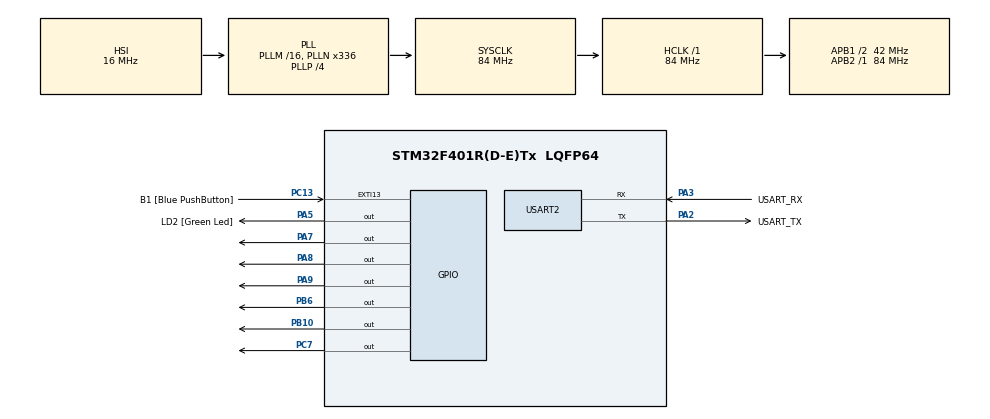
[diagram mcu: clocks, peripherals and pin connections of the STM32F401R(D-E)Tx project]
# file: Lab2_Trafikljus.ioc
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Mcu.Family=STM32F4
Mcu.Name=STM32F401R(D-E)Tx
Mcu.Package=LQFP64
NVIC.EXTI15_10_IRQn=true\:0\:0\:false\:false\:true\:true\:true\:true
NVIC.PriorityGroup=NVIC_PRIORITYGROUP_0
PA13.GPIO_Label=TMS
PA13.Mode=Serial_Wire
PA13.Signal=SYS_JTMS-SWDIO
PA14.GPIO_Label=TCK
PA14.Mode=Serial_Wire
PA14.Signal=SYS_JTCK-SWCLK
PA2.GPIO_Label=USART_TX
PA2.GPIO_Mode=GPIO_MODE_AF_PP
PA2.GPIO_PuPd=GPIO_NOPULL
PA2.GPIO_Speed=GPIO_SPEED_FREQ_LOW
PA2.Mode=Asynchronous
PA2.Signal=USART2_TX
PA3.GPIO_Label=USART_RX
PA3.GPIO_Mode=GPIO_MODE_AF_PP
PA3.GPIO_PuPd=GPIO_NOPULL
PA3.GPIO_Speed=GPIO_SPEED_FREQ_LOW
PA3.Mode=Asynchronous
PA3.Signal=USART2_RX
PA5.GPIO_Label=LD2 [Green Led]
PA5.GPIO_Mode=GPIO_MODE_OUTPUT_PP
PA5.GPIO_PuPd=GPIO_NOPULL
PA5.GPIO_Speed=GPIO_SPEED_FREQ_LOW
PA5.Signal=GPIO_Output
PA7.Signal=GPIO_Output
PA8.Signal=GPIO_Output
PA9.Signal=GPIO_Output
PB10.Signal=GPIO_Output
PB3.GPIO_Label=SWO
PB3.Signal=SYS_JTDO-SWO
PB6.Signal=GPIO_Output
PC13-ANTI_TAMP.GPIO_Label=B1 [Blue PushButton]
PC13-ANTI_TAMP.GPIO_ModeDefaultEXTI=GPIO_MODE_IT_FALLING
PC13-ANTI_TAMP.GPIO_PuPd=GPIO_NOPULL
PC13-ANTI_TAMP.Signal=GPXTI13
PC14-OSC32_IN.Mode=LSE-External-Oscillator
PC14-OSC32_IN.Signal=RCC_OSC32_IN
PC15-OSC32_OUT.Mode=LSE-External-Oscillator
PC15-OSC32_OUT.Signal=RCC_OSC32_OUT
PC7.Signal=GPIO_Output
PH0\ -\ OSC_IN.Mode=HSE-External-Clock-Source
PH0\ -\ OSC_IN.Signal=RCC_OSC_IN
PH1\ -\ OSC_OUT.Mode=HSE-External-Clock-Source
PH1\ -\ OSC_OUT.Signal=RCC_OSC_OUT
ProjectManager.HeapSize=0x200
ProjectManager.StackSize=0x400
ProjectManager.TargetToolchain=STM32CubeIDE
RCC.48MHZClocksFreq_Value=48000000
RCC.AHBFreq_Value=84000000
RCC.APB1CLKDivider=RCC_HCLK_DIV2
RCC.APB1Freq_Value=42000000
RCC.APB1TimFreq_Value=84000000
RCC.APB2Freq_Value=84000000
RCC.APB2TimFreq_Value=84000000
RCC.CortexFreq_Value=84000000
RCC.HCLKFreq_Value=84000000
RCC.HSE_VALUE=8000000
RCC.HSI_VALUE=16000000
RCC.PLLN=336
RCC.PLLP=RCC_PLLP_DIV4
RCC.PLLQ=7
RCC.SYSCLKFreq_VALUE=84000000
RCC.SYSCLKSource=RCC_SYSCLKSOURCE_PLLCLK
RCC.VCOOutputFreq_Value=336000000
USART2.VirtualMode=VM_ASYNC
board=NUCLEO-F401RE

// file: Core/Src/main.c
/* USER CODE BEGIN Header */
/**
  ******************************************************************************
  * @file           : main.c
  * @brief          : Main program body
  ******************************************************************************
  * @attention
  *
  * Copyright (c) 2024 STMicroelectronics.
  * All rights reserved.
  *
  * This software is licensed under terms that can be found in the LICENSE file
  * in the root directory of this software component.
  * If no LICENSE file comes with this software, it is provided AS-IS.
  *
  ******************************************************************************
  */
/* USER CODE END Header */
#include "main.h"

/* USER CODE BEGIN Includes */
// Definiera binära mönster för varje tillstånd
#define INIT_PATTERN      0b11111 // s_init
#define CARS_GO_PATTERN   0b01100 // s_cars_go
#define PUSHED_WAIT_PATTERN 0b01100 // s_pushed_wait
#define CARS_STOPPIN_PATTERN 0b01010 // s_cars_stoppin
#define WALK_GETREADY_PATTERN 0b01001 // s_walk_getready
#define WALK_PATTERN      0b10001 // s_walk
#define WALK_STOPPIN_PATTERN 0b01001 // s_walk_stoppin
#define CAR_GETREADY_PATTERN 0b01011 // s_car_ready
#define ALL_RED				0b01001
#define EVQ_SIZE 10

enum event {
    ev_none = 0,        // Ingen händelse, standardvärde
    ev_button_push,     // När knappen trycks
    ev_state_timeout,   // Timeout-händelse
	ev_error	= -99
};
enum state {
	s_init,
    s_cars_go,        // Tillstånd där bilarna kör
	s_pushed_wait,
    s_cars_stoppin,
    s_walk_getready,
    s_walk,
	s_walk_stoppin,
	s_cars_getready,
	s_all_red
};

enum event evq[EVQ_SIZE];
int evq_count	= 0;
int evq_front_ix = 0;   // Pekare till den första händelsen i kön
int evq_rear_ix = 0;
/* USER CODE END Includes */

/* USER CODE BEGIN PTD */
uint32_t ticks_left_in_state = 0;
/* USER CODE END PTD */

UART_HandleTypeDef huart2;

void SystemClock_Config(void);
static void MX_GPIO_Init(void);
static void MX_USART2_UART_Init(void);

/* USER CODE BEGIN 0 */
int is_button_pressed() {

	// Kontrollera knappens tillstånd
	return (HAL_GPIO_ReadPin(B1_GPIO_Port, B1_Pin) == GPIO_PIN_RESET) ? 1 : 0;

}

void set_traffic_lights(enum state s) {
	uint16_t pattern;
	switch (s) {
	case s_init:
		// Initiera alla lampor (eller tänd dem som krävs för initiering)
		pattern = INIT_PATTERN;
		break;
	case s_all_red:
		pattern = ALL_RED;
		break;
	case s_cars_go:
		pattern = CARS_GO_PATTERN;
		break;
	case s_pushed_wait:
		pattern = PUSHED_WAIT_PATTERN;
		break;
	case s_cars_stoppin:
		pattern = CARS_STOPPIN_PATTERN;
		break;
	case s_walk_getready:
		pattern = WALK_GETREADY_PATTERN;
		break;
	case s_walk:
		pattern = WALK_PATTERN;
		break;
	case s_walk_stoppin:
		pattern = WALK_STOPPIN_PATTERN;
		break;
	case s_cars_getready:
		pattern = CAR_GETREADY_PATTERN;
		break;
	default:
		pattern = 0b00000; // Ingen lampor tända
		break;
	}
	// Ställ in lysdioderna enligt det valda mönstret
	HAL_GPIO_WritePin(GPIOA, GPIO_PIN_8,
			(pattern & (1 << 0)) ? GPIO_PIN_SET : GPIO_PIN_RESET); // PA8
	HAL_GPIO_WritePin(GPIOA, GPIO_PIN_9,
			(pattern & (1 << 1)) ? GPIO_PIN_SET : GPIO_PIN_RESET); // PA9
	HAL_GPIO_WritePin(GPIOC, GPIO_PIN_7,
			(pattern & (1 << 2)) ? GPIO_PIN_SET : GPIO_PIN_RESET); // PC7
	HAL_GPIO_WritePin(GPIOB, GPIO_PIN_6,
			(pattern & (1 << 3)) ? GPIO_PIN_SET : GPIO_PIN_RESET); // PB6
	HAL_GPIO_WritePin(GPIOA, GPIO_PIN_7,
			(pattern & (1 << 4)) ? GPIO_PIN_SET : GPIO_PIN_RESET); // PA7
}

void push_button_light_on() {
	HAL_GPIO_WritePin(GPIOB, GPIO_PIN_10, GPIO_PIN_SET); // Sätter PB10 till hög för att tända dioden
}

void push_button_light_off() {
	HAL_GPIO_WritePin(GPIOB, GPIO_PIN_10, GPIO_PIN_RESET); // Sätter PB10 till låg för att släcka dioden
}
void evq_init(void) {
	for (int i = 0; i < EVQ_SIZE; i++) {
		evq[i] = ev_error;  // Fyll hela kön med felhändelse
	}
}

// if queue is full, ignore e
void evq_push_back(enum event e) {
// if queue is full, ignore e
	if (evq_count < EVQ_SIZE) {
		evq[evq_rear_ix] = e;
		evq_rear_ix++;
		evq_rear_ix %= EVQ_SIZE;
		evq_count++;
	}
}
enum event evq_pop_front() {
enum event e = ev_none;
if (evq_count > 0) {
	e = evq[evq_front_ix];
	evq[evq_front_ix] = ev_error; // detect stupidity
	evq_front_ix++;
	evq_front_ix %= EVQ_SIZE;
	evq_count--;
}
return e;
}

void HAL_GPIO_EXTI_Callback(uint16_t GPIO_Pin) {
    if (GPIO_Pin == B1_Pin) {  // B1_Pin refererar till den GPIO-pin B1 är kopplad till
        evq_push_back(ev_button_push);  // Lägg till ett knapptryck-event i kön
    }
}

int systick_count = 0;
void my_systick_handler()
{
	/*systick_count++;
	if (systick_count == 1000)
	{
		HAL_GPIO_TogglePin(LD2_GPIO_Port, LD2_Pin);
		systick_count = 0;
		evq_push_back(ev_state_timeout);
	}*/
	if(ticks_left_in_state > 0)
	{
		ticks_left_in_state --;
		if(ticks_left_in_state == 0)
		{
			evq_push_back(ev_state_timeout);
		}
	}
}
/* USER CODE END 0 */

int main(void)
{

  /* MCU Configuration--------------------------------------------------------*/

  /* Reset of all peripherals, Initializes the Flash interface and the Systick. */
  HAL_Init();

  /* USER CODE BEGIN Init */
	evq_init();  // Initiera event-kön
  /* USER CODE END Init */

  /* Configure the system clock */
  SystemClock_Config();

  /* Initialize all configured peripherals */
  MX_GPIO_Init();
  MX_USART2_UART_Init();
  /* USER CODE BEGIN 2 */
	enum state st = s_init;
	enum event ev = ev_none;
	//uint32_t curr_tick = 0;
	//uint32_t last_tick = HAL_GetTick();
	//uint32_t passed_time = 0;
  /* USER CODE END 2 */

  /* Infinite loop */
  /* USER CODE BEGIN WHILE */

	//int last_press;
	//int curr_press;
	while (1) {
	/*
		curr_press = is_button_pressed();
		curr_tick = HAL_GetTick();
		passed_time = curr_tick - last_tick;
		ev = ev_none;
		last_tick = curr_tick;
		if (curr_press && !last_press )
		{
			evq_push_back(ev_button_push);
			//ev = ev_button_push;
		}
		last_press = curr_press;

		if (ticks_left_in_state > 0) {
			if (passed_time >= ticks_left_in_state) {
				ticks_left_in_state = 0;
				evq_push_back(ev_state_timeout);
				//ev = ev_state_timeout;
			} else {
				ticks_left_in_state -= passed_time;
			}
		}
*/
		ev = evq_pop_front();

		switch (st) {
		case s_init:
			set_traffic_lights(s_init);
			if (ev == ev_button_push) {
				st = s_all_red;
				ticks_left_in_state = 2000;
				set_traffic_lights(s_all_red);// Ingen timeout här
			}
			//last_tick = HAL_GetTick(); // Uppdatera tidpunkt
			break;
		case s_all_red:
			// All red lights state
			if (ev == ev_state_timeout) {
				set_traffic_lights(s_cars_go);
				ticks_left_in_state = 2000;  // T.ex. 2 sekunder i s_all_red
				st = s_cars_go;
				//last_tick = HAL_GetTick(); // Uppdatera tidpunkt
			}
			break;
		case s_cars_go:

			if (ev == ev_button_push) {
				push_button_light_on();
				ticks_left_in_state += 4000;
				set_traffic_lights(s_pushed_wait);
				st = s_pushed_wait;
			}
		case s_pushed_wait:
			// Wait state after button press
			if (ev == ev_state_timeout) {
				set_traffic_lights(s_cars_stoppin);
				ticks_left_in_state = 5000;
				st = s_cars_stoppin;
				//last_tick = HAL_GetTick(); // Uppdatera tidpunkt
			}
			break;
		case s_cars_stoppin:
			if (ev == ev_state_timeout) {
				set_traffic_lights(s_walk_getready);
				ticks_left_in_state = 3000; // T.ex. 3 sekunder i s_walk_getready
				st = s_walk_getready;
				//last_tick = HAL_GetTick(); // Uppdatera tidpunkt
			}
			break;
		case s_walk_getready:
			// Red for all (prepare for walk state)
			if (ev == ev_state_timeout) {
				set_traffic_lights(s_walk);
				ticks_left_in_state = 5000;  // T.ex. 5 sekunder för walk
				st = s_walk;
				push_button_light_off();
				//last_tick = HAL_GetTick(); // Uppdatera tidpunkt
			}
			break;
		case s_walk:
			if (ev == ev_state_timeout) {
				set_traffic_lights(s_walk_stoppin);
				ticks_left_in_state = 2000; // T.ex. 2 sekunder för cars_getready
				 st = s_walk_stoppin;
				 //last_tick = HAL_GetTick(); // Uppdatera tidpunkt
			}
			break;
		case s_walk_stoppin:
			// Yellow light for pedestrians
			if (ev == ev_state_timeout) {
				set_traffic_lights(s_cars_getready);
				ticks_left_in_state = 1000; // T.ex. 2 sekunder för cars_getready
				st = s_cars_getready;
				//last_tick = HAL_GetTick(); // Uppdatera tidpunkt
			}
			break;

		case s_cars_getready:
			// Prepare cars for green light
			if (ev == ev_state_timeout) {
				set_traffic_lights(s_cars_go);
				st = s_cars_go;
				//last_tick = HAL_GetTick(); // Uppdatera tidpunkt
			}
			break;
		default:
			return 0;
			break;
		}

		//last_press = curr_press;
    /* USER CODE END WHILE */

	}
}

void SystemClock_Config(void)
{
  RCC_OscInitTypeDef RCC_OscInitStruct = {0};
  RCC_ClkInitTypeDef RCC_ClkInitStruct = {0};

  /** Configure the main internal regulator output voltage
  */
  __HAL_RCC_PWR_CLK_ENABLE();
  __HAL_PWR_VOLTAGESCALING_CONFIG(PWR_REGULATOR_VOLTAGE_SCALE2);

  /** Initializes the RCC Oscillators according to the specified parameters
  * in the RCC_OscInitTypeDef structure.
  */
  RCC_OscInitStruct.OscillatorType = RCC_OSCILLATORTYPE_HSI;
  RCC_OscInitStruct.HSIState = RCC_HSI_ON;
  RCC_OscInitStruct.HSICalibrationValue = RCC_HSICALIBRATION_DEFAULT;
  RCC_OscInitStruct.PLL.PLLState = RCC_PLL_ON;
  RCC_OscInitStruct.PLL.PLLSource = RCC_PLLSOURCE_HSI;
  RCC_OscInitStruct.PLL.PLLM = 16;
  RCC_OscInitStruct.PLL.PLLN = 336;
  RCC_OscInitStruct.PLL.PLLP = RCC_PLLP_DIV4;
  RCC_OscInitStruct.PLL.PLLQ = 7;
  if (HAL_RCC_OscConfig(&RCC_OscInitStruct) != HAL_OK)
  {
    Error_Handler();
  }

  /** Initializes the CPU, AHB and APB buses clocks
  */
  RCC_ClkInitStruct.ClockType = RCC_CLOCKTYPE_HCLK|RCC_CLOCKTYPE_SYSCLK
                              |RCC_CLOCKTYPE_PCLK1|RCC_CLOCKTYPE_PCLK2;
  RCC_ClkInitStruct.SYSCLKSource = RCC_SYSCLKSOURCE_PLLCLK;
  RCC_ClkInitStruct.AHBCLKDivider = RCC_SYSCLK_DIV1;
  RCC_ClkInitStruct.APB1CLKDivider = RCC_HCLK_DIV2;
  RCC_ClkInitStruct.APB2CLKDivider = RCC_HCLK_DIV1;

  if (HAL_RCC_ClockConfig(&RCC_ClkInitStruct, FLASH_LATENCY_2) != HAL_OK)
  {
    Error_Handler();
  }
}

static void MX_USART2_UART_Init(void)
{

  huart2.Instance = USART2;
  huart2.Init.BaudRate = 115200;
  huart2.Init.WordLength = UART_WORDLENGTH_8B;
  huart2.Init.StopBits = UART_STOPBITS_1;
  huart2.Init.Parity = UART_PARITY_NONE;
  huart2.Init.Mode = UART_MODE_TX_RX;
  huart2.Init.HwFlowCtl = UART_HWCONTROL_NONE;
  huart2.Init.OverSampling = UART_OVERSAMPLING_16;
  if (HAL_UART_Init(&huart2) != HAL_OK)
  {
    Error_Handler();
  }

}

static void MX_GPIO_Init(void)
{
  GPIO_InitTypeDef GPIO_InitStruct = {0};

  /* GPIO Ports Clock Enable */
  __HAL_RCC_GPIOC_CLK_ENABLE();
  __HAL_RCC_GPIOH_CLK_ENABLE();
  __HAL_RCC_GPIOA_CLK_ENABLE();
  __HAL_RCC_GPIOB_CLK_ENABLE();

  /*Configure GPIO pin Output Level */
  HAL_GPIO_WritePin(GPIOA, LD2_Pin|GPIO_PIN_7|GPIO_PIN_8|GPIO_PIN_9, GPIO_PIN_RESET);

  /*Configure GPIO pin Output Level */
  HAL_GPIO_WritePin(GPIOB, GPIO_PIN_10|GPIO_PIN_6, GPIO_PIN_RESET);

  /*Configure GPIO pin Output Level */
  HAL_GPIO_WritePin(GPIOC, GPIO_PIN_7, GPIO_PIN_RESET);

  /*Configure GPIO pin : B1_Pin */
  GPIO_InitStruct.Pin = B1_Pin;
  GPIO_InitStruct.Mode = GPIO_MODE_IT_FALLING;
  GPIO_InitStruct.Pull = GPIO_NOPULL;
  HAL_GPIO_Init(B1_GPIO_Port, &GPIO_InitStruct);

  /*Configure GPIO pins : LD2_Pin PA7 PA8 PA9 */
  GPIO_InitStruct.Pin = LD2_Pin|GPIO_PIN_7|GPIO_PIN_8|GPIO_PIN_9;
  GPIO_InitStruct.Mode = GPIO_MODE_OUTPUT_PP;
  GPIO_InitStruct.Pull = GPIO_NOPULL;
  GPIO_InitStruct.Speed = GPIO_SPEED_FREQ_LOW;
  HAL_GPIO_Init(GPIOA, &GPIO_InitStruct);

  /*Configure GPIO pins : PB10 PB6 */
  GPIO_InitStruct.Pin = GPIO_PIN_10|GPIO_PIN_6;
  GPIO_InitStruct.Mode = GPIO_MODE_OUTPUT_PP;
  GPIO_InitStruct.Pull = GPIO_NOPULL;
  GPIO_InitStruct.Speed = GPIO_SPEED_FREQ_LOW;
  HAL_GPIO_Init(GPIOB, &GPIO_InitStruct);

  /*Configure GPIO pin : PC7 */
  GPIO_InitStruct.Pin = GPIO_PIN_7;
  GPIO_InitStruct.Mode = GPIO_MODE_OUTPUT_PP;
  GPIO_InitStruct.Pull = GPIO_NOPULL;
  GPIO_InitStruct.Speed = GPIO_SPEED_FREQ_LOW;
  HAL_GPIO_Init(GPIOC, &GPIO_InitStruct);

  /* EXTI interrupt init*/
  HAL_NVIC_SetPriority(EXTI15_10_IRQn, 0, 0);
  HAL_NVIC_EnableIRQ(EXTI15_10_IRQn);

}

void Error_Handler(void)
{
	__disable_irq();
	while (1) {
	}
}
